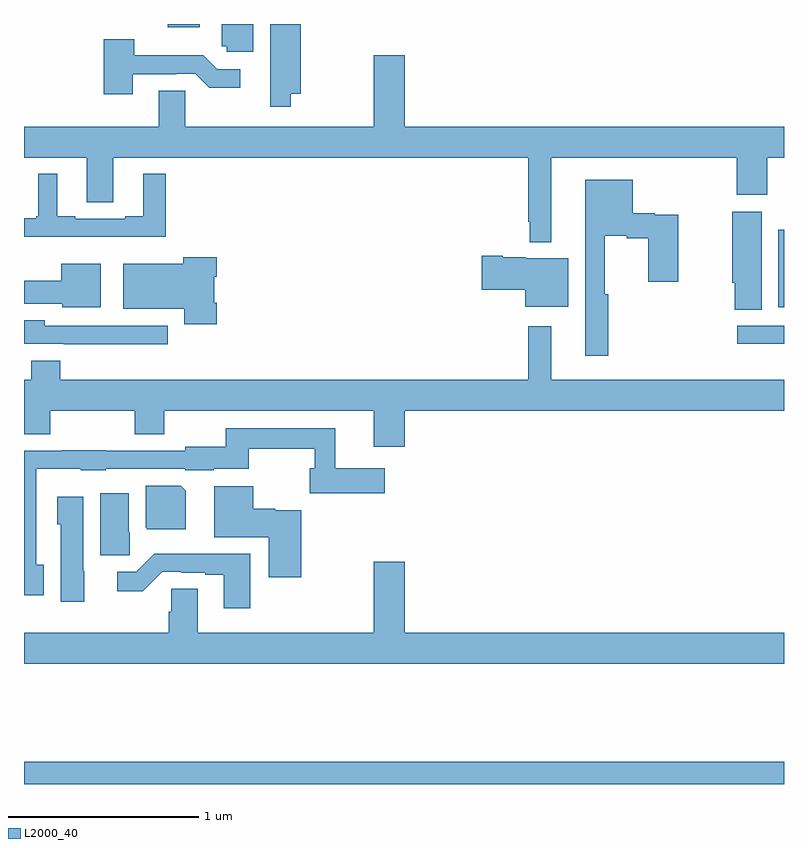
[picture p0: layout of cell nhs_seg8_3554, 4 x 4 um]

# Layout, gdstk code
import gdstk
lib = gdstk.Library(unit=1e-6, precision=1e-09)
def R(c, l, rs):  # rectangles x0, y0, x1, y1
    for r in rs: c.add(gdstk.rectangle(r[:2], r[2:], *l))
def P(c, l, *ps):  # polygons
    for p in ps: c.add(gdstk.Polygon(p, *l))
L2000_40 = (2000, 40)

nhs_seg8_3554 = lib.new_cell('nhs_seg8_3554')
R(nhs_seg8_3554, L2000_40, [(331,1083.9,335,1084.016), (334.755,1086.216,335,1086.312), (334.97,1086.41,335,1086.817), (331.757,1087.883,331.924,1087.9)])
P(nhs_seg8_3554, L2000_40, [(332.404,1087.532),(332.457,1087.532),(332.457,1087.9),(332.295,1087.9),(332.295,1087.464),(332.404,1087.464)],
  [(332.206,1087.9),(332.042,1087.9),(332.042,1087.782),(332.067,1087.782),(332.067,1087.755),(332.206,1087.755)],
  [(331.573,1087.635),(331.802,1087.635),(331.802,1087.638),(331.902,1087.638),(331.975,1087.565),(332.137,1087.565),(332.137,1087.662),(332.016,1087.662),(331.943,1087.735),(331.581,1087.735),(331.581,1087.819),(331.421,1087.819),(331.421,1087.53),(331.573,1087.53)],
  [(333.775,1087.196),(334.751,1087.196),(334.751,1087.002),(334.911,1087.002),(334.911,1087.196),(335,1087.196),(335,1087.36),(333.004,1087.36),(333.004,1087.735),(332.84,1087.735),(332.84,1087.36),(331.848,1087.36),(331.848,1087.55),(331.709,1087.55),(331.709,1087.36),(331,1087.36),(331,1087.196),(331.331,1087.196),(331.331,1086.961),(331.471,1086.961),(331.471,1087.196),(333.654,1087.196),(333.654,1086.859),(333.661,1086.859),(333.661,1086.752),(333.775,1086.752)],
  [(331.745,1087.111),(331.628,1087.111),(331.628,1086.889),(331.532,1086.889),(331.532,1086.876),(331.27,1086.876),(331.27,1086.889),(331.174,1086.889),(331.174,1087.111),(331.076,1087.111),(331.076,1086.889),(331.065,1086.889),(331.065,1086.877),(331,1086.877),(331,1086.78),(331.17,1086.78),(331.17,1086.779),(331.745,1086.779)],
  [(334.075,1086.477),(334.057,1086.477),(334.057,1086.785),(334.172,1086.785),(334.172,1086.773),(334.286,1086.773),(334.286,1086.543),(334.444,1086.543),(334.444,1086.895),(334.32,1086.895),(334.32,1086.903),(334.204,1086.903),(334.204,1087.081),(333.953,1087.081),(333.953,1086.153),(334.075,1086.153)],
  [(334.882,1086.913),(334.727,1086.913),(334.727,1086.537),(334.741,1086.537),(334.741,1086.397),(334.882,1086.397)],
  [(333.865,1086.667),(333.642,1086.667),(333.642,1086.673),(333.52,1086.673),(333.52,1086.68),(333.408,1086.68),(333.408,1086.502),(333.638,1086.502),(333.638,1086.413),(333.865,1086.413)],
  [(332.015,1086.433),(332.002,1086.433),(332.002,1086.569),(332.015,1086.569),(332.015,1086.673),(331.837,1086.673),(331.837,1086.637),(331.523,1086.637),(331.523,1086.401),(331.844,1086.401),(331.844,1086.321),(332.015,1086.321)],
  [(331.405,1086.637),(331.196,1086.637),(331.196,1086.55),(331,1086.55),(331,1086.428),(331.2,1086.428),(331.2,1086.41),(331.405,1086.41)],
  [(331.756,1086.312),(331.11,1086.312),(331.11,1086.34),(331,1086.34),(331,1086.216),(331.21,1086.216),(331.21,1086.215),(331.756,1086.215)],
  [(333.004,1085.864),(335,1085.864),(335,1086.028),(333.775,1086.028),(333.775,1086.31),(333.654,1086.31),(333.654,1086.028),(331.19,1086.028),(331.19,1086.127),(331.037,1086.127),(331.037,1086.028),(331,1086.028),(331,1085.74),(331.137,1085.74),(331.137,1085.864),(331.582,1085.864),(331.582,1085.74),(331.737,1085.74),(331.737,1085.864),(332.84,1085.864),(332.84,1085.676),(333.004,1085.676)],
  [(331.105,1085.054),(331.065,1085.054),(331.065,1085.558),(331.299,1085.558),(331.299,1085.552),(331.431,1085.552),(331.431,1085.559),(331.848,1085.559),(331.848,1085.552),(331.998,1085.552),(331.998,1085.558),(332.182,1085.558),(332.182,1085.664),(332.529,1085.664),(332.529,1085.563),(332.503,1085.563),(332.503,1085.429),(332.899,1085.429),(332.899,1085.563),(332.639,1085.563),(332.639,1085.772),(332.061,1085.772),(332.061,1085.674),(331.848,1085.674),(331.848,1085.655),(331.431,1085.655),(331.431,1085.657),(331.199,1085.657),(331.199,1085.655),(331,1085.655),(331,1084.893),(331.105,1084.893)],
  [(331.852,1085.444),(331.826,1085.47),(331.64,1085.47),(331.64,1085.248),(331.648,1085.24),(331.852,1085.24)],
  [(332.459,1085.341),(332.322,1085.341),(332.322,1085.349),(332.206,1085.349),(332.206,1085.468),(332,1085.468),(332,1085.198),(332.288,1085.198),(332.288,1084.989),(332.459,1084.989)],
  [(331.556,1085.226),(331.552,1085.226),(331.552,1085.431),(331.4,1085.431),(331.4,1085.103),(331.556,1085.103)],
  [(331.318,1085.022),(331.312,1085.022),(331.312,1085.413),(331.175,1085.413),(331.175,1085.268),(331.193,1085.268),(331.193,1084.86),(331.318,1084.86)],
  [(332.191,1085.111),(331.685,1085.111),(331.59,1085.016),(331.491,1085.016),(331.491,1084.914),(331.626,1084.914),(331.728,1085.016),(331.828,1085.016),(331.828,1085.013),(331.955,1085.013),(331.955,1085.001),(332.051,1085.001),(332.051,1084.824),(332.191,1084.824)],
  [(335,1084.696),(333.004,1084.696),(333.004,1085.071),(332.84,1085.071),(332.84,1084.696),(331.915,1084.696),(331.915,1084.928),(331.776,1084.928),(331.776,1084.806),(331.763,1084.806),(331.763,1084.696),(331,1084.696),(331,1084.532),(335,1084.532)])

lib.write_gds('nhs_seg8_3554.gds')
